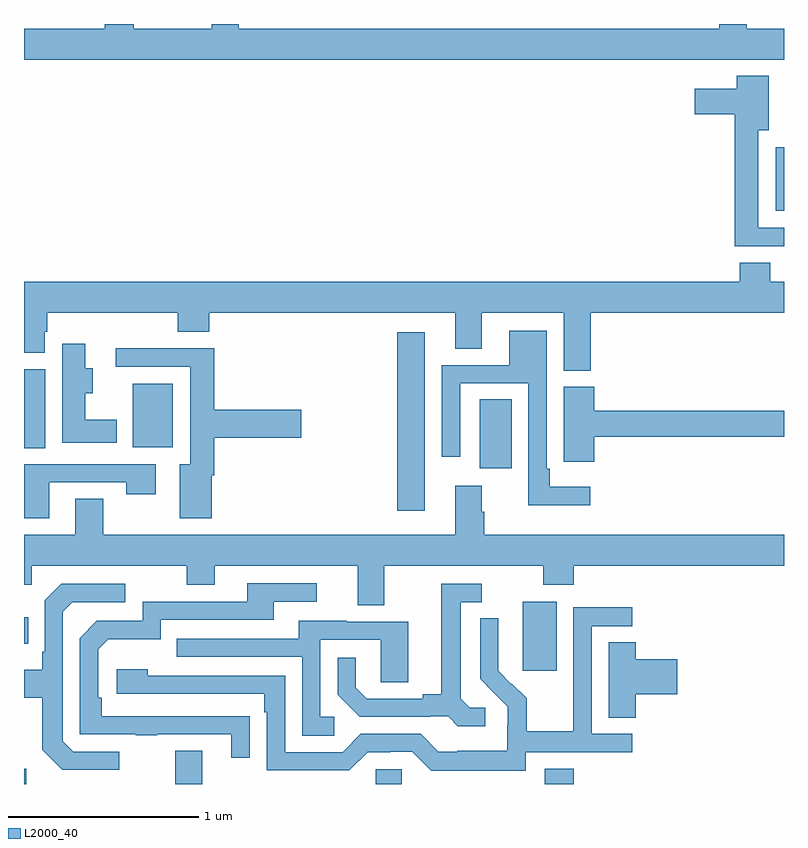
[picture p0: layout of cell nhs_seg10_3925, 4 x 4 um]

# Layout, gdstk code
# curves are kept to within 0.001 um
import gdstk
lib = gdstk.Library(unit=1e-6, precision=1e-09)
def R(c, l, rs):  # rectangles x0, y0, x1, y1
    for r in rs: c.add(gdstk.rectangle(r[:2], r[2:], *l))
def P(c, l, *ps):  # polygons
    for p in ps: c.add(gdstk.Polygon(p, *l))
L2000_40 = (2000, 40)

nhs_seg10_3925 = lib.new_cell('nhs_seg10_3925')
R(nhs_seg10_3925, L2000_40, [(327,1300.5,327.013,1300.579), (327.797,1300.5,327.937,1300.675), (328.851,1300.5,328.989,1300.578), (329.741,1300.5,329.894,1300.579), (329.624,1301.097,329.803,1301.458), (327,1301.237,327.023,1301.377), (328.964,1301.937,329.11,1302.877), (329.399,1302.162,329.566,1302.524), (327,1302.268,327.112,1302.684), (327.572,1302.272,327.784,1302.607), (330.956,1303.517,331,1303.852)])
P(nhs_seg10_3925, L2000_40, [(331,1304.476),(330.805,1304.476),(330.805,1304.5),(330.658,1304.5),(330.658,1304.476),(328.129,1304.476),(328.129,1304.5),(327.989,1304.5),(327.989,1304.476),(327.577,1304.476),(327.577,1304.5),(327.425,1304.5),(327.425,1304.476),(327,1304.476),(327,1304.312),(331,1304.312)],
  [(331,1303.428),(330.865,1303.428),(330.865,1303.94),(330.919,1303.94),(330.919,1304.227),(330.752,1304.227),(330.752,1304.158),(330.531,1304.158),(330.531,1304.024),(330.74,1304.024),(330.74,1303.331),(331,1303.331)],
  [(329.984,1302.98),(331,1302.98),(331,1303.144),(330.927,1303.144),(330.927,1303.243),(330.767,1303.243),(330.767,1303.144),(327,1303.144),(327,1302.769),(327.109,1302.769),(327.109,1302.879),(327.122,1302.879),(327.122,1302.98),(327.809,1302.98),(327.809,1302.881),(327.974,1302.881),(327.974,1302.98),(329.27,1302.98),(329.27,1302.79),(329.41,1302.79),(329.41,1302.98),(329.84,1302.98),(329.84,1302.676),(329.984,1302.676)],
  [(329.98,1302.064),(329.767,1302.064),(329.767,1302.16),(329.751,1302.16),(329.751,1302.886),(329.555,1302.886),(329.555,1302.705),(329.199,1302.705),(329.199,1302.222),(329.295,1302.222),(329.295,1302.609),(329.655,1302.609),(329.655,1301.966),(329.98,1301.966)],
  [(327.487,1302.418),(327.322,1302.418),(327.322,1302.557),(327.361,1302.557),(327.361,1302.687),(327.322,1302.687),(327.322,1302.817),(327.2,1302.817),(327.2,1302.296),(327.487,1302.296)],
  [(327.988,1302.125),(328.001,1302.125),(328.001,1302.323),(328.459,1302.323),(328.459,1302.47),(328.001,1302.47),(328.001,1302.794),(327.483,1302.794),(327.483,1302.696),(327.875,1302.696),(327.875,1302.184),(327.821,1302.184),(327.821,1301.898),(327.988,1301.898)],
  [(330.002,1302.328),(331,1302.328),(331,1302.464),(330.002,1302.464),(330.002,1302.591),(329.84,1302.591),(329.84,1302.307),(329.841,1302.307),(329.841,1302.195),(330.002,1302.195)],
  [(327.133,1302.087),(327.538,1302.087),(327.538,1302.024),(327.694,1302.024),(327.694,1302.183),(327,1302.183),(327,1301.898),(327.133,1301.898)],
  [(329.423,1301.933),(329.41,1301.933),(329.41,1302.07),(329.27,1302.07),(329.27,1301.812),(327.417,1301.812),(327.417,1302.002),(327.269,1302.002),(327.269,1301.812),(327,1301.812),(327,1301.549),(327.042,1301.549),(327.042,1301.648),(327.856,1301.648),(327.856,1301.549),(328.003,1301.549),(328.003,1301.648),(328.757,1301.648),(328.757,1301.44),(328.897,1301.44),(328.897,1301.648),(329.734,1301.648),(329.734,1301.549),(329.894,1301.549),(329.894,1301.648),(331,1301.648),(331,1301.812),(329.423,1301.812)],
  [(328.187,1300.856),(327.41,1300.857),(327.41,1300.954),(327.39,1300.954),(327.39,1301.208),(327.443,1301.261),(327.72,1301.261),(327.72,1301.364),(328.315,1301.364),(328.315,1301.46),(328.54,1301.46),(328.54,1301.556),(328.175,1301.556),(328.175,1301.46),(327.624,1301.46),(327.624,1301.358),(327.384,1301.358),(327.294,1301.268),(327.294,1300.761),(327.589,1300.761),(327.589,1300.756),(327.701,1300.756),(327.701,1300.761),(328.091,1300.761),(328.091,1300.638),(328.187,1300.638)],
  [(327.502,1300.671),(327.258,1300.671),(327.204,1300.725),(327.204,1301.406),(327.255,1301.457),(327.532,1301.457),(327.532,1301.553),(327.195,1301.553),(327.108,1301.466),(327.108,1301.197),(327.096,1301.197),(327.096,1301.101),(327,1301.101),(327,1300.954),(327.096,1300.954),(327.096,1300.681),(327.201,1300.575),(327.502,1300.575)],
  [(329.428,1300.902),(329.346,1300.902),(329.299,1300.949),(329.299,1301.457),(329.41,1301.457),(329.41,1301.553),(329.195,1301.553),(329.195,1300.973),(329.099,1300.973),(329.099,1300.95),(328.804,1300.95),(328.747,1301.007),(328.747,1301.164),(328.65,1301.164),(328.65,1300.97),(328.766,1300.854),(329.138,1300.854),(329.138,1300.857),(329.232,1300.857),(329.284,1300.805),(329.428,1300.805)],
  [(329.64,1300.668),(330.202,1300.668),(330.202,1300.764),(329.988,1300.764),(329.988,1301.331),(330.202,1301.331),(330.202,1301.43),(329.892,1301.43),(329.892,1301),(329.89,1301),(329.89,1300.777),(329.645,1300.777),(329.645,1300.951),(329.568,1301.028),(329.565,1301.025),(329.495,1301.096),(329.496,1301.372),(329.4,1301.372),(329.4,1301.054),(329.546,1300.906),(329.546,1300.809),(329.544,1300.809),(329.544,1300.675),(329.281,1300.675),(329.281,1300.671),(329.181,1300.671),(329.088,1300.764),(328.773,1300.764),(328.677,1300.668),(328.374,1300.668),(328.374,1301.07),(327.65,1301.07),(327.65,1301.104),(327.489,1301.104),(327.489,1300.974),(328.265,1300.974),(328.265,1300.877),(328.278,1300.877),(328.278,1300.572),(328.713,1300.572),(328.809,1300.668),(328.928,1300.668),(328.928,1300.671),(329.043,1300.671),(329.143,1300.571),(329.64,1300.571)],
  [(328.633,1300.854),(328.56,1300.854),(328.56,1301.259),(328.878,1301.259),(328.878,1301.035),(329.023,1301.035),(329.023,1301.355),(328.699,1301.355),(328.699,1301.359),(328.445,1301.359),(328.445,1301.265),(327.805,1301.265),(327.805,1301.169),(328.464,1301.169),(328.464,1300.753),(328.633,1300.753)],
  [(330.221,1300.973),(330.439,1300.973),(330.439,1301.156),(330.221,1301.156),(330.221,1301.246),(330.077,1301.246),(330.077,1300.849),(330.221,1300.849)])

lib.write_gds('nhs_seg10_3925.gds')
